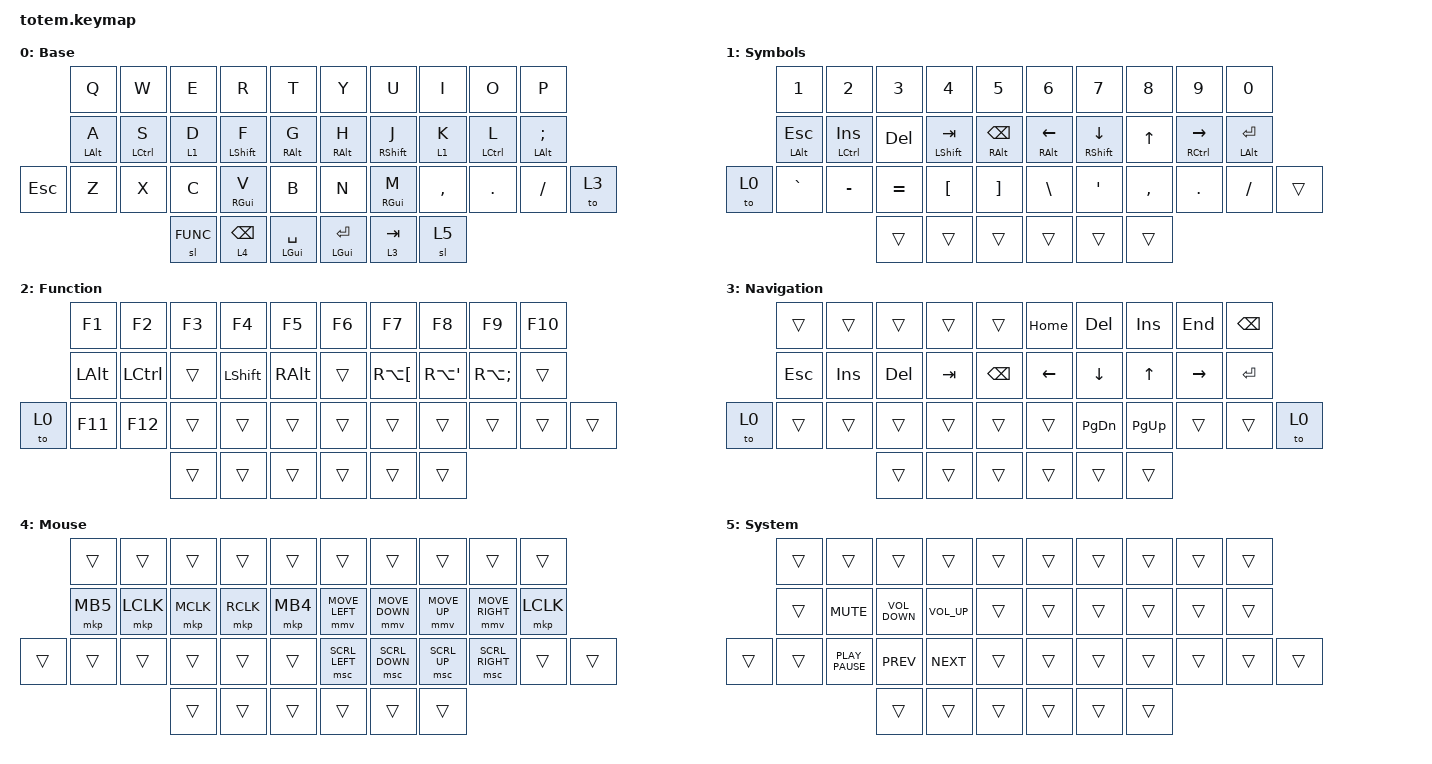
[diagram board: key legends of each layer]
#include <behaviors.dtsi>
#include <dt-bindings/zmk/keys.h>
#include <dt-bindings/zmk/pointing.h>

#define BASE  0
#define SYMB  1
#define FUNC  2
#define NAVI  3
#define MOUS  4
#define SYST  5

&mt {
    flavor = "tap-preferred";
    quick-tap-ms = <100>;
};

&lt {
    flavor = "tap-preferred";
    quick-tap-ms = <100>;
};

/ {
    combos {
        compatible = "zmk,combos";

        symb_tog {
            bindings = <&tog 1>;
            key-positions = <33 36>;
        };

        syst_tog {
            bindings = <&tog 5>;
            key-positions = <24 34>;
        };
    };

    behaviors {
        hml: hml {
            compatible = "zmk,behavior-hold-tap";
            label = "HML";
            bindings = <&kp>, <&kp>;

            #binding-cells = <2>;
            flavor = "balanced";
            tapping-term-ms = <280>;
            require-prior-idle-ms = <150>;
            quick-tap-ms = <175>;
            hold-trigger-on-release;
            hold-trigger-key-positions = <5 15 26 6 16 27 7 17 28 8 18 29 9 19 30>;
        };

        hmr: hmr {
            compatible = "zmk,behavior-hold-tap";
            label = "HMR";
            bindings = <&kp>, <&kp>;

            #binding-cells = <2>;
            tapping-term-ms = <280>;
            quick-tap-ms = <175>;
            require-prior-idle-ms = <150>;
            flavor = "balanced";
            hold-trigger-on-release;
            hold-trigger-key-positions = <0 10 21 22 11 1 2 12 23 3 13 24 25 14 4>;
        };

        hml_layer: hml_layer {
            compatible = "zmk,behavior-hold-tap";
            label = "HML_LAYER";
            bindings = <&mo>, <&kp>;

            #binding-cells = <2>;
            tapping-term-ms = <280>;
            quick-tap-ms = <175>;
            require-prior-idle-ms = <150>;
            flavor = "balanced";
            hold-trigger-on-release;
            hold-trigger-key-positions = <5 15 26 6 16 27 7 17 28 8 18 29 9 19 30>;
        };

        hmr_layer: hmr_layer {
            compatible = "zmk,behavior-hold-tap";
            label = "HMR_LAYER";
            bindings = <&mo>, <&kp>;

            #binding-cells = <2>;
            tapping-term-ms = <280>;
            quick-tap-ms = <175>;
            require-prior-idle-ms = <150>;
            flavor = "balanced";
            hold-trigger-on-release;
            hold-trigger-key-positions = <0 10 21 22 11 1 2 12 23 3 13 24 25 14 4>;
        };
    };

    keymap {
        compatible = "zmk,keymap";

        BASE {
            display-name = "Base";
            bindings = <
            &kp Q            &kp W                &kp E           &kp R              &kp T                 &kp Y             &kp U               &kp I           &kp O                &kp P
            &hml LEFT_ALT A  &hml LEFT_CONTROL S  &hml_layer 1 D  &hml LEFT_SHIFT F  &hml RIGHT_ALT G      &hmr RIGHT_ALT H  &hmr RIGHT_SHIFT J  &hmr_layer 1 K  &hmr LEFT_CONTROL L  &hmr LEFT_ALT SEMI
&kp ESCAPE  &kp Z            &kp X                &kp C           &hml RIGHT_GUI V   &kp B                 &kp N             &hmr RIGHT_GUI M    &kp COMMA       &kp DOT              &kp SLASH           &to 3
                                                  &sl FUNC        &lt 4 BACKSPACE    &mt LEFT_GUI SPACE    &mt LEFT_GUI RET  &lt 3 TAB           &sl 5
            >;
        };

        SYMB {
            display-name = "Symbols";
            bindings = <
       &kp NUMBER_1          &kp NUMBER_2              &kp NUMBER_3  &kp NUMBER_4         &kp NUMBER_5                &kp NUMBER_6         &kp NUMBER_7           &kp NUMBER_8  &kp NUMBER_9              &kp NUMBER_0
       &hml LEFT_ALT ESCAPE  &hml LEFT_CONTROL INSERT  &kp DELETE    &hml LEFT_SHIFT TAB  &hml RIGHT_ALT BACKSPACE    &hmr RIGHT_ALT LEFT  &hmr RIGHT_SHIFT DOWN  &kp UP        &hmr RIGHT_CONTROL RIGHT  &hmr LEFT_ALT ENTER
&to 0  &kp GRAVE             &kp MINUS                 &kp EQUAL     &kp LEFT_BRACKET     &kp RIGHT_BRACKET           &kp BACKSLASH        &kp SQT                &kp COMMA     &kp PERIOD                &kp SLASH            &trans
                                                       &trans        &trans               &trans                      &trans               &trans                 &trans
            >;
        };

        FUNC {
            display-name = "Function";
            bindings = <
       &kp F1        &kp F2            &kp F3  &kp F4          &kp F5           &kp F6  &kp F7                &kp F8              &kp F9             &kp F10
       &kp LEFT_ALT  &kp LEFT_CONTROL  &trans  &kp LEFT_SHIFT  &kp RIGHT_ALT    &trans  &kp RA(LEFT_BRACKET)  &kp RA(APOSTROPHE)  &kp RA(SEMICOLON)  &trans
&to 0  &kp F11       &kp F12           &trans  &trans          &trans           &trans  &trans                &trans              &trans             &trans   &trans
                                       &trans  &trans          &trans           &trans  &trans                &trans
            >;
        };

        NAVI {
            display-name = "Navigation";
            bindings = <
       &trans      &trans   &trans   &trans   &trans           &kp HOME  &kp DEL        &kp INS      &kp END    &kp BACKSPACE
       &kp ESCAPE  &kp INS  &kp DEL  &kp TAB  &kp BACKSPACE    &kp LEFT  &kp DOWN       &kp UP       &kp RIGHT  &kp ENTER
&to 0  &trans      &trans   &trans   &trans   &trans           &trans    &kp PAGE_DOWN  &kp PAGE_UP  &trans     &trans         &to 0
                            &trans   &trans   &trans           &trans    &trans         &trans
            >;
        };

        MOUS {
            display-name = "Mouse";
            bindings = <
        &trans    &trans     &trans     &trans     &trans      &trans          &trans          &trans        &trans           &trans
        &mkp MB5  &mkp LCLK  &mkp MCLK  &mkp RCLK  &mkp MB4    &mmv MOVE_LEFT  &mmv MOVE_DOWN  &mmv MOVE_UP  &mmv MOVE_RIGHT  &mkp LCLK
&trans  &trans    &trans     &trans     &trans     &trans      &msc SCRL_LEFT  &msc SCRL_DOWN  &msc SCRL_UP  &msc SCRL_RIGHT  &trans     &trans
                             &trans     &trans     &trans      &trans          &trans          &trans
            >;
        };

        SYST {
            display-name = "System";
            bindings = <
        &trans  &trans            &trans             &trans           &trans    &trans  &trans  &trans  &trans  &trans
        &trans  &kp K_MUTE        &kp K_VOLUME_DOWN  &kp K_VOLUME_UP  &trans    &trans  &trans  &trans  &trans  &trans
&trans  &trans  &kp K_PLAY_PAUSE  &kp K_PREV         &kp K_NEXT       &trans    &trans  &trans  &trans  &trans  &trans  &trans
                                  &trans             &trans           &trans    &trans  &trans  &trans
            >;
        };
    };
};
